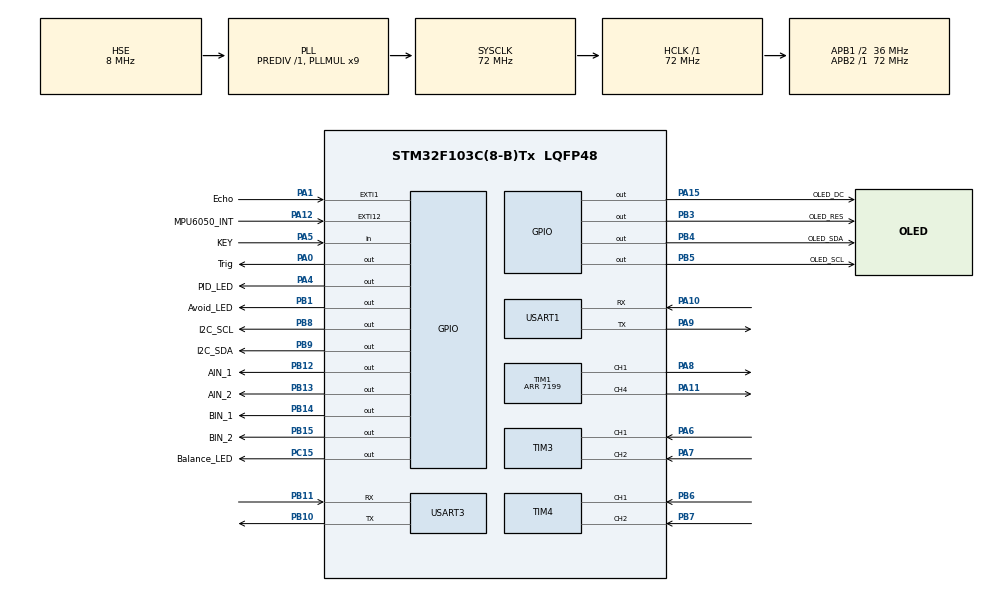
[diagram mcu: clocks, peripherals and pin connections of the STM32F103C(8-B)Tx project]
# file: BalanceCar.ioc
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Mcu.Family=STM32F1
Mcu.Name=STM32F103C(8-B)Tx
Mcu.Package=LQFP48
NVIC.EXTI15_10_IRQn=true\:10\:0\:true\:false\:true\:true\:true\:true
NVIC.EXTI1_IRQn=true\:5\:0\:true\:false\:true\:true\:true\:true
NVIC.PriorityGroup=NVIC_PRIORITYGROUP_4
NVIC.USART3_IRQn=true\:0\:0\:false\:false\:true\:true\:true\:true
PA0-WKUP.GPIO_Label=Trig
PA0-WKUP.Signal=GPIO_Output
PA1.GPIO_Label=Echo
PA1.GPIO_ModeDefaultEXTI=GPIO_MODE_IT_RISING_FALLING
PA1.Signal=GPXTI1
PA10.Mode=Asynchronous
PA10.Signal=USART1_RX
PA11.Signal=S_TIM1_CH4
PA12.GPIO_Label=MPU6050_INT
PA12.GPIO_ModeDefaultEXTI=GPIO_MODE_IT_FALLING
PA12.GPIO_PuPd=GPIO_PULLUP
PA12.Signal=GPXTI12
PA13.Mode=Serial_Wire
PA13.Signal=SYS_JTMS-SWDIO
PA14.Mode=Serial_Wire
PA14.Signal=SYS_JTCK-SWCLK
PA15.GPIO_Label=OLED_DC
PA15.GPIO_Speed=GPIO_SPEED_FREQ_HIGH
PA15.PinState=GPIO_PIN_SET
PA15.Signal=GPIO_Output
PA4.GPIO_Label=PID_LED
PA4.PinState=GPIO_PIN_RESET
PA4.Signal=GPIO_Output
PA5.GPIO_Label=KEY
PA5.GPIO_PuPd=GPIO_PULLUP
PA5.Signal=GPIO_Input
PA6.Signal=S_TIM3_CH1
PA7.Signal=S_TIM3_CH2
PA8.Signal=S_TIM1_CH1
PA9.Mode=Asynchronous
PA9.Signal=USART1_TX
PB1.GPIO_Label=Avoid_LED
PB1.Signal=GPIO_Output
PB10.Mode=Asynchronous
PB10.Signal=USART3_TX
PB11.Mode=Asynchronous
PB11.Signal=USART3_RX
PB12.GPIO_Label=AIN_1
PB12.Signal=GPIO_Output
PB13.GPIO_Label=AIN_2
PB13.Signal=GPIO_Output
PB14.GPIO_Label=BIN_1
PB14.Signal=GPIO_Output
PB15.GPIO_Label=BIN_2
PB15.Signal=GPIO_Output
PB3.GPIO_Label=OLED_RES
PB3.GPIO_Speed=GPIO_SPEED_FREQ_HIGH
PB3.PinState=GPIO_PIN_SET
PB3.Signal=GPIO_Output
PB4.GPIO_Label=OLED_SDA
PB4.GPIO_Speed=GPIO_SPEED_FREQ_HIGH
PB4.PinState=GPIO_PIN_SET
PB4.Signal=GPIO_Output
PB5.GPIO_Label=OLED_SCL
PB5.GPIO_Speed=GPIO_SPEED_FREQ_HIGH
PB5.PinState=GPIO_PIN_SET
PB5.Signal=GPIO_Output
PB6.Signal=S_TIM4_CH1
PB7.Signal=S_TIM4_CH2
PB8.GPIO_Label=I2C_SCL
PB8.GPIO_Speed=GPIO_SPEED_FREQ_HIGH
PB8.PinState=GPIO_PIN_SET
PB8.Signal=GPIO_Output
PB9.GPIO_Label=I2C_SDA
PB9.GPIO_Speed=GPIO_SPEED_FREQ_HIGH
PB9.PinState=GPIO_PIN_SET
PB9.Signal=GPIO_Output
PC15-OSC32_OUT.GPIO_Label=Balance_LED
PC15-OSC32_OUT.Signal=GPIO_Output
PD0-OSC_IN.Mode=HSE-External-Oscillator
PD0-OSC_IN.Signal=RCC_OSC_IN
PD1-OSC_OUT.Mode=HSE-External-Oscillator
PD1-OSC_OUT.Signal=RCC_OSC_OUT
ProjectManager.HeapSize=0x200
ProjectManager.StackSize=0x400
ProjectManager.TargetToolchain=MDK-ARM V5
RCC.AHBFreq_Value=72000000
RCC.APB1CLKDivider=RCC_HCLK_DIV2
RCC.APB1Freq_Value=36000000
RCC.APB1TimFreq_Value=72000000
RCC.APB2Freq_Value=72000000
RCC.APB2TimFreq_Value=72000000
RCC.HCLKFreq_Value=72000000
RCC.PLLMUL=RCC_PLL_MUL9
RCC.PLLSourceVirtual=RCC_PLLSOURCE_HSE
RCC.SYSCLKFreq_VALUE=72000000
RCC.SYSCLKSource=RCC_SYSCLKSOURCE_PLLCLK
RCC.USBFreq_Value=72000000
SH.S_TIM1_CH1.0=TIM1_CH1,PWM Generation1 CH1
SH.S_TIM1_CH4.0=TIM1_CH4,PWM Generation4 CH4
SH.S_TIM3_CH1.0=TIM3_CH1,Encoder_Interface
SH.S_TIM3_CH2.0=TIM3_CH2,Encoder_Interface
SH.S_TIM4_CH1.0=TIM4_CH1,Encoder_Interface
SH.S_TIM4_CH2.0=TIM4_CH2,Encoder_Interface
TIM1.Channel-PWM\ Generation1\ CH1=TIM_CHANNEL_1
TIM1.Channel-PWM\ Generation4\ CH4=TIM_CHANNEL_4
TIM1.Period=7199
TIM2.Prescaler=71
TIM3.EncoderMode=TIM_ENCODERMODE_TI12
TIM4.EncoderMode=TIM_ENCODERMODE_TI12
USART1.VirtualMode=VM_ASYNC
USART3.VirtualMode=VM_ASYNC
VP_TIM2_VS_ClockSourceINT.Mode=Internal
board=custom

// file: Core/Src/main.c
/* USER CODE BEGIN Header */
/**
  ******************************************************************************
  * @file           : main.c
  * @brief          : Main program body
  ******************************************************************************
  * @attention
  *
  * Copyright (c) 2026 STMicroelectronics.
  * All rights reserved.
  *
  * This software is licensed under terms that can be found in the LICENSE file
  * in the root directory of this software component.
  * If no LICENSE file comes with this software, it is provided AS-IS.
  *
  ******************************************************************************
  */
/* USER CODE END Header */
#include "main.h"
#include "tim.h"
#include "usart.h"
#include "gpio.h"

/* USER CODE BEGIN Includes */
#include "dwt.h"
#include "oled.h"
#include "hcsr.h"
#include "stdio.h"
#include "motor.h"
#include "encoder.h"
#include "mpu6050.h"
#include "PID.h"
/* USER CODE END Includes */

/* USER CODE BEGIN PM */
unsigned char Str_Buff[64];
float distance;
uint32_t Tim2_Counter;
short encoder1;
short encoder2;
extern float Roll,Pitch,Yaw;
uint8_t Flag_Balance=0;
uint8_t Flag_Avoid=0;
uint8_t Uart_Buff[128]={0};
uint8_t Uart_Dat;
uint8_t Forward_Flag, Backward_Flag, TurnLeft_Flag, TurnRight_Flag;

/* USER CODE END PM */

void SystemClock_Config(void);

/* USER CODE BEGIN 0 */
void OLED_Show(void);
void Scan_Key(void);
void LED_Mode(void);
/* USER CODE END 0 */

int main(void)
{

  /* MCU Configuration--------------------------------------------------------*/

  /* Reset of all peripherals, Initializes the Flash interface and the Systick. */
  HAL_Init();

  /* Configure the system clock */
  SystemClock_Config();

  /* Initialize all configured peripherals */
  MX_GPIO_Init();
  MX_TIM2_Init();
  MX_TIM1_Init();
  MX_TIM3_Init();
  MX_TIM4_Init();
  MX_USART3_UART_Init();
  MX_USART1_UART_Init();
  /* USER CODE BEGIN 2 */
  DWT_Delay_Init();
  OLED_Init();
  MPU6050_initialize();

  if(DMP_Init()!=8) while(1);

  HAL_TIM_PWM_Start(&htim1,TIM_CHANNEL_1);
  HAL_TIM_PWM_Start(&htim1,TIM_CHANNEL_4);

  HAL_TIM_Encoder_Start(&htim3,TIM_CHANNEL_ALL);
  HAL_TIM_Encoder_Start(&htim4,TIM_CHANNEL_ALL);

  HAL_NVIC_SetPriority(EXTI1_IRQn, 5, 0);
  HAL_NVIC_EnableIRQ(EXTI1_IRQn);

  HAL_NVIC_SetPriority(EXTI15_10_IRQn, 10, 0);
  HAL_NVIC_EnableIRQ(EXTI15_10_IRQn);

  HAL_UART_Receive_IT(&huart3,Uart_Buff,1);
  //Set_PWM(5000,5000);

  /* USER CODE END 2 */

  /* Infinite loop */
  /* USER CODE BEGIN WHILE */
  while (1)
  {
	  Trigger_Hcsr04();
	  OLED_Show();
	  Scan_Key();

	  LED_Mode();
	  HAL_Delay(100);
    /* USER CODE END WHILE */

  }
}

void SystemClock_Config(void)
{
  RCC_OscInitTypeDef RCC_OscInitStruct = {0};
  RCC_ClkInitTypeDef RCC_ClkInitStruct = {0};

  /** Initializes the RCC Oscillators according to the specified parameters
  * in the RCC_OscInitTypeDef structure.
  */
  RCC_OscInitStruct.OscillatorType = RCC_OSCILLATORTYPE_HSE;
  RCC_OscInitStruct.HSEState = RCC_HSE_ON;
  RCC_OscInitStruct.HSEPredivValue = RCC_HSE_PREDIV_DIV1;
  RCC_OscInitStruct.HSIState = RCC_HSI_ON;
  RCC_OscInitStruct.PLL.PLLState = RCC_PLL_ON;
  RCC_OscInitStruct.PLL.PLLSource = RCC_PLLSOURCE_HSE;
  RCC_OscInitStruct.PLL.PLLMUL = RCC_PLL_MUL9;
  if (HAL_RCC_OscConfig(&RCC_OscInitStruct) != HAL_OK)
  {
    Error_Handler();
  }

  /** Initializes the CPU, AHB and APB buses clocks
  */
  RCC_ClkInitStruct.ClockType = RCC_CLOCKTYPE_HCLK|RCC_CLOCKTYPE_SYSCLK
                              |RCC_CLOCKTYPE_PCLK1|RCC_CLOCKTYPE_PCLK2;
  RCC_ClkInitStruct.SYSCLKSource = RCC_SYSCLKSOURCE_PLLCLK;
  RCC_ClkInitStruct.AHBCLKDivider = RCC_SYSCLK_DIV1;
  RCC_ClkInitStruct.APB1CLKDivider = RCC_HCLK_DIV2;
  RCC_ClkInitStruct.APB2CLKDivider = RCC_HCLK_DIV1;

  if (HAL_RCC_ClockConfig(&RCC_ClkInitStruct, FLASH_LATENCY_2) != HAL_OK)
  {
    Error_Handler();
  }
}

/* USER CODE BEGIN 4 */

void OLED_Show()
{
	sprintf((char *)Str_Buff,"distance:%.2f ",distance);
	OLED_ShowString(0,0,Str_Buff);

	sprintf((char *)Str_Buff,"encoder1:%d ",encoder1);
	OLED_ShowString(0,2,Str_Buff);

	sprintf((char *)Str_Buff,"Pitch:%.2f ",Pitch);
	OLED_ShowString(0,4,Str_Buff);

	sprintf((char *)Str_Buff,"Yaw:%.2f ",Yaw);
	OLED_ShowString(0,6,Str_Buff);

}

void HAL_GPIO_EXTI_Callback(uint16_t GPIO_Pin)
{
	if(GPIO_Pin== Echo_Pin)
	{
		if(HAL_GPIO_ReadPin(Echo_GPIO_Port,Echo_Pin)==SET){
			__HAL_TIM_SetCounter(&htim2,0);
			HAL_TIM_Base_Start(&htim2);
		}
		else
		{
			HAL_TIM_Base_Stop(&htim2);
			Tim2_Counter=__HAL_TIM_GetCounter(&htim2);
			distance = Tim2_Counter * 0.017; //cm
		}

     }
	else if(GPIO_Pin ==MPU6050_INT_Pin)
	{
		Control();
		static int countInco =0;
		countInco++;
		if(countInco== 100)// 0.5s
		{
			HAL_GPIO_TogglePin(PID_LED_GPIO_Port,PID_LED_Pin);
			countInco=0;
		}

	}

}

int fputc(int ch, FILE*f)
{
	HAL_UART_Transmit(&huart1,(uint8_t*)&ch,1,HAL_MAX_DELAY);
	return ch;
}

void Scan_Key()
{
	if(HAL_GPIO_ReadPin(KEY_GPIO_Port,KEY_Pin) ==0)
	{
		HAL_Delay(10);
		if(HAL_GPIO_ReadPin(KEY_GPIO_Port,KEY_Pin)==0)
		{
			Flag_Balance=!Flag_Balance;
			Flag_Avoid=!Flag_Avoid;

		}
		while(HAL_GPIO_ReadPin(KEY_GPIO_Port,KEY_Pin)==0);
	}
}

void LED_Mode()
{
	if(Flag_Avoid==1)
	{
		HAL_GPIO_WritePin(Avoid_LED_GPIO_Port,Avoid_LED_Pin,GPIO_PIN_RESET);
	}
	else
	{
		HAL_GPIO_WritePin(Avoid_LED_GPIO_Port,Avoid_LED_Pin,GPIO_PIN_SET);
	}
	if(Flag_Balance==1)
	{
		HAL_GPIO_WritePin(Balance_LED_GPIO_Port,Balance_LED_Pin,GPIO_PIN_RESET);
	}
	else
	{
		HAL_GPIO_WritePin(Balance_LED_GPIO_Port,Balance_LED_Pin,GPIO_PIN_SET);
	}

}

void HAL_UART_RxCpltCallback(UART_HandleTypeDef *huart)
{
	if(huart->Instance == USART3)
	{
		Uart_Dat = Uart_Buff[0];
		if(Uart_Dat == 0x5A){Forward_Flag = 0;Backward_Flag = 0;TurnLeft_Flag = 0;TurnRight_Flag = 0;}//停止
		else if(Uart_Dat == 0x41){Forward_Flag = 1;Backward_Flag = 0;TurnLeft_Flag = 0;TurnRight_Flag = 0;}//前进A
		else if(Uart_Dat == 0x45){Forward_Flag = 0;Backward_Flag = 1;TurnLeft_Flag = 0;TurnRight_Flag = 0;}//后退E
		else if(Uart_Dat == 0x42 || Uart_Dat == 0x43 || Uart_Dat == 0x44)//右转
		{
			Forward_Flag = 0;
			Backward_Flag = 0;
			TurnLeft_Flag = 0;
			TurnRight_Flag = 1;
		}
		else if(Uart_Dat == 0x46 || Uart_Dat == 0x47 || Uart_Dat == 0x48)//左转
		{
			Forward_Flag = 0;
			Backward_Flag = 0;
			TurnLeft_Flag = 1;
			TurnRight_Flag = 0;
		}
		else{Forward_Flag = 0;Backward_Flag = 0;TurnLeft_Flag = 0;TurnRight_Flag = 0;}//停止

		HAL_UART_Receive_IT(&huart3,Uart_Buff,1);

	}
}

/* USER CODE END 4 */

void Error_Handler(void)
{
  __disable_irq();
  while (1)
  {
  }
}
